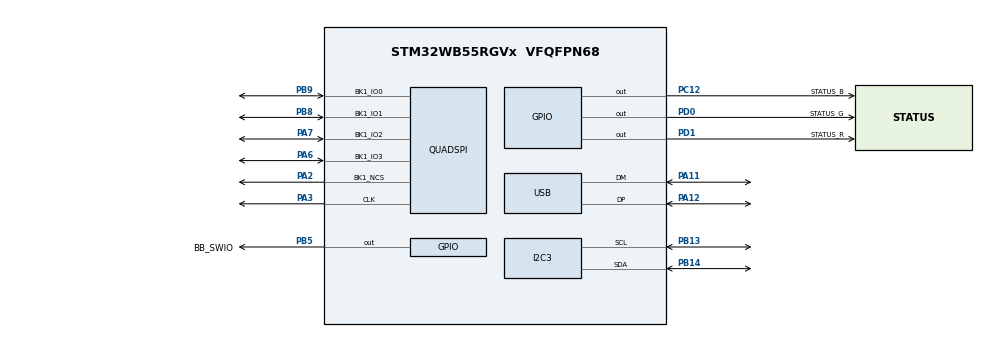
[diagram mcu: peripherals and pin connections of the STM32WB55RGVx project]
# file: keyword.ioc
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I2C3.Timing=0x10B17DB5
Mcu.Family=STM32WB
Mcu.Name=STM32WB55RGVx
Mcu.Package=VFQFPN68
NVIC.PriorityGroup=NVIC_PRIORITYGROUP_4
OSC_IN.Mode=HSE-External-Oscillator
OSC_IN.Signal=RCC_OSC_IN
OSC_OUT.Mode=HSE-External-Oscillator
OSC_OUT.Signal=RCC_OSC_OUT
PA11.Mode=Device
PA11.Signal=USB_DM
PA12.Mode=Device
PA12.Signal=USB_DP
PA13.Mode=Serial_Wire
PA13.Signal=SYS_JTMS-SWDIO
PA14.Mode=Serial_Wire
PA14.Signal=SYS_JTCK-SWCLK
PA2.Mode=Single Bank 1
PA2.Signal=QUADSPI_BK1_NCS
PA3.Mode=Single Bank 1
PA3.Signal=QUADSPI_CLK
PA6.Mode=Single Bank 1
PA6.Signal=QUADSPI_BK1_IO3
PA7.Mode=Single Bank 1
PA7.Signal=QUADSPI_BK1_IO2
PB13.Mode=I2C
PB13.Signal=I2C3_SCL
PB14.Mode=I2C
PB14.Signal=I2C3_SDA
PB5.GPIO_Label=BB_SWIO
PB5.Signal=GPIO_Output
PB8.Mode=Single Bank 1
PB8.Signal=QUADSPI_BK1_IO1
PB9.Mode=Single Bank 1
PB9.Signal=QUADSPI_BK1_IO0
PC12.GPIO_Label=STATUS_B
PC12.Signal=GPIO_Output
PC14-OSC32_IN.Mode=LSE-External-Oscillator
PC14-OSC32_IN.Signal=RCC_OSC32_IN
PC15-OSC32_OUT.Mode=LSE-External-Oscillator
PC15-OSC32_OUT.Signal=RCC_OSC32_OUT
PD0.GPIO_Label=STATUS_G
PD0.Signal=GPIO_Output
PD1.GPIO_Label=STATUS_R
PD1.Signal=GPIO_Output
ProjectManager.HeapSize=0x200
ProjectManager.StackSize=0x400
ProjectManager.TargetToolchain=EWARM V9.60
RCC.ADCFreq_Value=48000000
RCC.AHB2CLKDivider=RCC_SYSCLK_DIV2
RCC.AHBFreq_Value=64000000
RCC.APB1Freq_Value=64000000
RCC.APB1TimFreq_Value=64000000
RCC.APB2Freq_Value=64000000
RCC.APB2TimFreq_Value=64000000
RCC.APB3Freq_Value=4000000
RCC.Cortex2_Div=SYSTICK_CLKSOURCE_HCLK_DIV8
RCC.CortexFreq_Value=64000000
RCC.HCLKFreq_Value=64000000
RCC.HSE_VALUE=8000000
RCC.HSI48_VALUE=48000000
RCC.HSI_VALUE=16000000
RCC.PLLN=32
RCC.PLLSAI1N=24
RCC.SYSCLKFreq_VALUE=64000000
RCC.SYSCLKSource=RCC_SYSCLKSOURCE_PLLCLK
RCC.USBFreq_Value=48000000
RCC.VCOOutputFreq_Value=128000000
RF1.Mode=RF1_Activate
RF1.Signal=RF_RF1
VP_MEMORYMAP_VS_MEMORYMAP.Mode=CurAppReg
board=custom

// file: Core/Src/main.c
/* USER CODE BEGIN Header */
/**
  ******************************************************************************
  * @file           : main.c
  * @brief          : Main program body
  ******************************************************************************
  * @attention
  *
  * Copyright (c) 2026 STMicroelectronics.
  * All rights reserved.
  *
  * This software is licensed under terms that can be found in the LICENSE file
  * in the root directory of this software component.
  * If no LICENSE file comes with this software, it is provided AS-IS.
  *
  ******************************************************************************
  */
/* USER CODE END Header */
#include "main.h"

/* USER CODE BEGIN Includes */
#include <stdio.h>
#include <string.h>
#include "app_entry.h"
#include "usb_device.h"
#include "ch32v003_swio.h"
#include "keybit_image.h"
#include "keybit_bus.h"
#include "keymap.h"
#include "proto.h"

/* USER CODE END Includes */

/* USER CODE BEGIN PD */
/* U14 (XL-1608RGBC) is common anode to +3.3V, so a pin driven LOW lights its colour. */
#define LED_STEP_MS 500
#define GREEN_BLINK_MS 150   /* 3 green blinks, this long on and off, once a Keybit is flashed */
#define KEYBIT_POLL_MS 250
#define HALT_TRIES_MAX 60      /* dock polls (250 ms) with a failed halt before giving up */

/* USER CODE END PD */

I2C_HandleTypeDef hi2c3;

QSPI_HandleTypeDef hqspi;

PCD_HandleTypeDef hpcd_USB_FS;

/* USER CODE BEGIN PV */
static ch32_swio_t keybit_swio;
uint32_t keybit_dock_pause_until;
uint32_t keyword_reset_csr;   /* HAL tick; the dock poll stays off the line until then */
/* Keybits touching the keyword's sides: the list is rebuilt every
 * ~500 ms and key_down refreshed every 15 ms (keybit_bus_service). keybit_changed
 * collects bits of entries whose key_down changed; whoever consumes key
 * events clears the bits it has handled. */
keybit_info_t keybits[KEYBIT_MAX];
int keybit_count;
volatile uint32_t keybit_changed;
/* Keybits further out, from events relayed by their neighbours. */
keybit_remote_t keybit_remotes[KEYBIT_REMOTE_MAX];
int keybit_remote_count;

/* USER CODE END PV */

void SystemClock_Config(void);
void PeriphCommonClock_Config(void);
static void MX_GPIO_Init(void);
static void MX_I2C3_Init(void);
static void MX_USB_PCD_Init(void);
static void MX_QUADSPI_Init(void);
static void MX_RF_Init(void);
/* USER CODE BEGIN PFP */
static void LED_Set(uint8_t r, uint8_t g, uint8_t b);

/* USER CODE END PFP */

/* USER CODE BEGIN 0 */
static void LED_Set(uint8_t r, uint8_t g, uint8_t b)
{
  HAL_GPIO_WritePin(STATUS_R_GPIO_Port, STATUS_R_Pin, r ? GPIO_PIN_RESET : GPIO_PIN_SET);
  HAL_GPIO_WritePin(STATUS_G_GPIO_Port, STATUS_G_Pin, g ? GPIO_PIN_RESET : GPIO_PIN_SET);
  HAL_GPIO_WritePin(STATUS_B_GPIO_Port, STATUS_B_Pin, b ? GPIO_PIN_RESET : GPIO_PIN_SET);
}

/* Status LED, highest priority first:
 *   red    Keybit on the dock failed to flash (until it's taken off)
 *   red    blinking: SDA held low, a Keybit is on backwards (bus paused)
 *   red    double blink: a Keybit reports a neighbour on backwards
 *   white  blinking: a Keybit just connected, on a side or chained
 *   blue   Keybit on the dock (flashing); green once it's done
 *   white  idle */
/* Dock: EMPTY until something answers, WORKING while flashing (blue), then
 * DONE (green) or FAILED (red, gave up) until that board is taken off. */
enum { DOCK_EMPTY, DOCK_WORKING, DOCK_DONE, DOCK_FAILED };
static uint8_t dock_state, bus_held;
static uint32_t white_until;
static uint32_t green_until;   /* green blink after a Keybit is flashed or found up to date */

#define WHITE_BLINK_MS 1200
#define BUS_HELD_MS 100

/* Any Keybit, touching us or further out, with a neighbour on backwards. */
static int Keybit_Any_Backwards(void)
{
  for (int i = 0; i < keybit_count; i++) if (keybits[i].backwards) return 1;
  for (int i = 0; i < keybit_remote_count; i++) if (keybit_remotes[i].present && keybit_remotes[i].backwards) return 1;
  return 0;
}

static void LED_Update(void)
{
  uint32_t now = HAL_GetTick();
  uint32_t t = now % 1000;
  if (dock_state == DOCK_FAILED) LED_Set(1, 0, 0);
  else if ((int32_t)(green_until - now) > 0) LED_Set(0, ((green_until - now) / GREEN_BLINK_MS) & 1, 0);
  else if (bus_held) LED_Set(((now / 250) & 1) == 0, 0, 0);
  else if (Keybit_Any_Backwards()) LED_Set(t < 100 || (t >= 200 && t < 300), 0, 0);  /* two 100 ms blinks a second */
  else if ((int32_t)(white_until - now) > 0) {
    uint8_t on = ((now / 100) & 1) == 0;
    LED_Set(on, on, on);
  }
  else if (dock_state == DOCK_DONE) LED_Set(0, 1, 0);
  else if (dock_state == DOCK_WORKING) LED_Set(0, 0, 1);
  else LED_Set(1, 1, 1);
}

/* Keybit programming dock: CN7/CN8/CN9 on the keyword's back are 3V3, SWIO
 * and GND, lined up with a Keybit's TP1/TP2/TP4. Poll for a Keybit there
 * and flash keybit_image onto it. Until one has been flashed (or found up
 * to date) it keeps retrying every poll, even after a failed attempt, and
 * reports every attempt that got any answer over serial as DOCK lines. */
/* Halt whatever is on the dock and read its 96-bit UID, trusting it only
 * when two reads agree. */
static ch32_status_t Keybit_Dock_Uid(uint32_t uid[3])
{
  ch32_status_t r = ch32_halt(&keybit_swio, 0);
  if (r != CH32_OK && ch32_detect(&keybit_swio) == CH32_OK) r = ch32_halt(&keybit_swio, 0);
  if (r != CH32_OK) return r;
  for (int t = 0; t < 3; t++) {
    int ok = 1;
    for (int i = 0; i < 3 && ok; i++) {
      uint32_t again = 0;
      ok = ch32_read_word(&keybit_swio, 0x1FFFF7E8u + 4u * i, &uid[i]) == CH32_OK &&
           ch32_read_word(&keybit_swio, 0x1FFFF7E8u + 4u * i, &again) == CH32_OK && uid[i] == again;
    }
    /* All 1s or all 0s is a line nobody is driving, not a UID. */
    if (ok && !(uid[0] == uid[1] && uid[1] == uid[2] && (uid[0] == 0 || uid[0] == 0xFFFFFFFFu))) return CH32_OK;
  }
  return CH32_ERR_VERIFY;
}

/* One flash attempt on the docked board: done if it verifies or programs,
 * failed once 5 attempts in a row get nowhere. */
static int32_t best_blk;   /* furthest block the current board's attempts got to */
static uint32_t next_blk;  /* where flashing the current board carries on */
static uint8_t checked;    /* the current board's whole image has been checked once */
static uint8_t stalls;     /* attempts in a row that got no further than where they started */

/* Boards flashed or found up to date since boot; the image is fixed per
 * build, so one of these coming back doesn't need checking again. */
static uint32_t done_uids[8][3];
static uint8_t done_count, done_next;

static void Keybit_Dock_Done(const uint32_t uid[3])
{
  dock_state = DOCK_DONE;
  stalls = 0;
  green_until = HAL_GetTick() + 6 * GREEN_BLINK_MS;
  for (int i = 0; i < done_count; i++)
    if (memcmp(done_uids[i], uid, 12) == 0) return;
  memcpy(done_uids[done_next], uid, 12);
  done_next = (done_next + 1) % 8;
  if (done_count < 8) done_count++;
}

static void Keybit_Dock_Start(const uint32_t uid[3])
{
  for (int i = 0; i < done_count; i++)
    if (memcmp(done_uids[i], uid, 12) == 0) {
      ch32_reboot(&keybit_swio);  /* it was halted for the UID read */
      Keybit_Dock_Done(uid);
      PROTO_Send("DOCK up to date (seen)");
      return;
    }
  dock_state = DOCK_WORKING;
  best_blk = -1;
  next_blk = 0;
  checked = 0;
  stalls = 0;
  LED_Update();    /* blue while flashing */
}

static void Keybit_Dock_Attempt(const uint32_t uid[3])
{
  static uint8_t blank_polls;
  if (dock_state != DOCK_WORKING) return;

  /* No reset: with the Keybit firmware running, a reset-halt loses the line.
   * If the halt fails anyway, detect again and give it one more go. */
  ch32_status_t h = ch32_halt(&keybit_swio, 0);
  if (h != CH32_OK && ch32_detect(&keybit_swio) == CH32_OK) h = ch32_halt(&keybit_swio, 0);
  /* The halt fails in runs and then goes through, so a failed one isn't a
   * stuck attempt: just try again next poll, and only give up after
   * HALT_TRIES_MAX of them in a row (~15 s). */
  static uint8_t halt_fails;
  if (h != CH32_OK) {
    if (++halt_fails >= HALT_TRIES_MAX) {
      halt_fails = 0;
      dock_state = DOCK_FAILED;
      PROTO_Send("DOCK failed: halt=%d", h);
    }
    return;
  }
  halt_fails = 0;
  /* The first words all reading blank is more likely a board that isn't
   * seated yet than an erased one, so give it about a second before
   * believing it (an attempt that died after erasing block 0 does leave it blank). */
  if (h == CH32_OK) {
    uint32_t w = 0;
    int blank = 1;
    for (int i = 0; i < 4 && blank; i++)
      blank = ch32_read_word(&keybit_swio, CH32_FLASH_BASE + 4u * i, &w) == CH32_OK && w == 0xFFFFFFFFu;
    if (blank && ++blank_polls < 4) return;
  }
  blank_polls = 0;
  /* Check the whole image once per docking; after that, carry straight on. */
  int resuming = h == CH32_OK && checked;
  ch32_status_t v = resuming ? CH32_ERR_VERIFY
                  : h == CH32_OK ? ch32_verify(&keybit_swio, CH32_FLASH_BASE, keybit_image, keybit_image_len) : h;
  /* Only a real mismatch means it needs flashing; a garbled read just gets checked again. */
  for (int i = 0; i < 3 && h == CH32_OK && v != CH32_OK && v != CH32_ERR_VERIFY; i++)
    v = ch32_verify(&keybit_swio, CH32_FLASH_BASE, keybit_image, keybit_image_len);
  /* A mismatch has to show up twice before it's worth a reflash. */
  if (v == CH32_ERR_VERIFY && !resuming) {
    PROTO_Send("DOCK mismatch at %08lx want %08lx got %08lx", (unsigned long)ch32_bad_addr,
               (unsigned long)ch32_bad_want, (unsigned long)ch32_bad_got);
    v = ch32_verify(&keybit_swio, CH32_FLASH_BASE, keybit_image, keybit_image_len);
  }
  if (v == CH32_OK) {
    ch32_reboot(&keybit_swio);
    Keybit_Dock_Done(uid);
    PROTO_Send("DOCK up to date");
    return;
  }
  if (h == CH32_OK && !checked && v == CH32_ERR_VERIFY) {
    /* Everything before the first mismatch already matches. */
    checked = 1;
    next_blk = (ch32_bad_addr - CH32_FLASH_BASE) / CH32_FLASH_BLOCK;
  }
  ch32_status_t p = ch32_program(&keybit_swio, keybit_image, keybit_image_len, &next_blk);
  if (p == CH32_MORE) {   /* a couple of blocks done; the rest next poll */
    stalls = 0;
    return;
  }
  PROTO_Send("DOCK flash halt=%d verify=%d program=%d acs=%08lx retries=%lu blk=%ld from=%lu", h, v, p,
             (unsigned long)ch32_last_acs, (unsigned long)ch32_retries, (long)ch32_fail_blk,
             (unsigned long)ch32_resume_from);
  if (p == CH32_OK) {
    Keybit_Dock_Done(uid);
    return;
  }
  /* Progress means this attempt got past the block it resumed from. */
  if (ch32_fail_blk > (int32_t)ch32_resume_from) {
    if (ch32_fail_blk > best_blk) best_blk = ch32_fail_blk;
    stalls = 0;
  } else if (++stalls >= 5) {
    dock_state = DOCK_FAILED;
    stalls = 0;
    PROTO_Send("DOCK failed at block %ld", (long)best_blk);
  }
}

static void Keybit_Dock_Poll(void)
{
  static uint32_t last_poll, uid[3];
  static uint8_t misses, settle;

  if (HAL_GetTick() - last_poll < KEYBIT_POLL_MS) return;
  if ((int32_t)(keybit_dock_pause_until - HAL_GetTick()) > 0) return;
  last_poll = HAL_GetTick();

  if (ch32_detect(&keybit_swio) != CH32_OK) {
    settle = 0;
    /* Only call it gone after about a second of misses: detect still drops one now and then. */
    if (dock_state != DOCK_EMPTY && ++misses >= 4) {
      dock_state = DOCK_EMPTY;
      misses = 0;
      PROTO_Send("DOCK gone");
    }
    return;
  }

  if (dock_state == DOCK_EMPTY) {
    /* Wait for three answers in a row (~500 ms) so a board still being seated isn't read half-on. */
    if (++settle < 3) return;
    if (Keybit_Dock_Uid(uid) != CH32_OK) return;
    misses = 0;
    Keybit_Dock_Start(uid);
  } else if (misses) {
    /* It answered again after a gap: the same board carries on where it was,
     * a different one starts over. */
    uint32_t now_uid[3];
    misses = 0;
    if (Keybit_Dock_Uid(now_uid) != CH32_OK) return;
    if (memcmp(now_uid, uid, sizeof(uid)) != 0) {
      memcpy(uid, now_uid, sizeof(uid));
      Keybit_Dock_Start(uid);
    } else if (dock_state != DOCK_WORKING) {
      ch32_reboot(&keybit_swio);  /* back to running its firmware */
    }
  }
  Keybit_Dock_Attempt(uid);
}

/* DOCK? over serial: the raw answers from whatever is on the dock, to debug detection. */
int Keybit_Dock_Probe(uint32_t *cfg, uint32_t *status)
{
  *cfg = *status = 0;
  int r = ch32_detect(&keybit_swio);
  ch32_read_reg(&keybit_swio, CH32_DMCFGR, cfg);
  ch32_read_reg(&keybit_swio, CH32_DMSTATUS, status);
  return r;
}

/* DOCKSCAN: after a successful probe, read DMCFGR n more times and count
 * how many come back exactly as the first good read, to rank timings by
 * how reliably they read rather than by one lucky answer. */
/* n reads alternating DMCFGR and DMHARTINFO against the values a V003
 * gives; returns how many came back right. */
int Keybit_Dock_Reads(int n)
{
  int good = 0;
  for (int i = 0; i < n; i++) {
    uint32_t v = 0;
    uint8_t reg = (i & 1) ? CH32_DMHARTINFO : CH32_DMCFGR;
    uint32_t want = (i & 1) ? 0x002120F4u : 0x5AA50401u;
    if (ch32_read_reg(&keybit_swio, reg, &v) == CH32_OK && v == want) good++;
  }
  return good;
}

/* Halts the core, then n write/read-back round trips through DMDATA0 (four
 * fixed patterns, then an LCG), then lets it run again. Returns how many DATA0 ones matched, or -1 if the halt
 * failed (its result in *hr). The first DATA0 mismatch goes in *bw / *br,
 * and *bad says whether there was one. */
int Keybit_Dock_Score(int n, uint32_t *bw, uint32_t *br, int *bad, int *hr)
{
  static const uint32_t fixed[4] = { 0x00000000u, 0xFFFFFFFFu, 0xAAAAAAAAu, 0x55555555u };
  uint32_t x = 0x12345678u;
  int good = 0;
  *bad = 0;
  *hr = ch32_halt(&keybit_swio, 0);
  if (*hr != CH32_OK) return -1;
  ch32_write_reg(&keybit_swio, CH32_DMABSTRACTAUTO, 0);
  for (int i = 0; i < n; i++) {
    uint32_t w = i < 4 ? fixed[i] : (x = x * 1664525u + 1013904223u), r = 0;
    ch32_write_reg(&keybit_swio, CH32_DMDATA0, w);
    if (ch32_read_reg(&keybit_swio, CH32_DMDATA0, &r) == CH32_OK && r == w) good++;
    else if (!*bad) { *bad = 1; *bw = w; *br = r; }
  }
  ch32_reboot(&keybit_swio);
  return good;
}

/* Detect whatever is on the dock, optionally request a halt (DMCONTROL
 * written twice) and wait delay_ms, then dump the debug module registers
 * (HARTINFO four times) into v[0..7]; 0xEEEEEEEE for a failed read.
 * x=1 or 2 runs ch32_halt (2 with reset) instead of the halt writes and
 * puts its result in *hr. */
int Keybit_Dock_Regs(uint32_t *v, uint32_t delay_ms, int halt, int x, int *hr)
{
  static const uint8_t regs[8] = { CH32_DMSTATUS, CH32_DMHARTINFO, CH32_DMHARTINFO, CH32_DMHARTINFO,
                                   CH32_DMHARTINFO, CH32_DMABSTRACTCS, CH32_DMCFGR, CH32_DMCONTROL };
  int r = ch32_detect(&keybit_swio);
  *hr = 0;
  if (r == CH32_OK && x) *hr = ch32_halt(&keybit_swio, x == 2);
  else if (r == CH32_OK && halt) {
    ch32_write_reg(&keybit_swio, CH32_DMCONTROL, 0x80000001u);
    ch32_write_reg(&keybit_swio, CH32_DMCONTROL, 0x80000001u);
  }
  if (delay_ms) HAL_Delay(delay_ms);
  for (int i = 0; i < 8; i++)
    if (ch32_read_reg(&keybit_swio, regs[i], &v[i]) != CH32_OK) v[i] = 0xEEEEEEEEu;
  return r;
}

/* DOCKRD: halt whatever is on the dock without resetting it, read n words
 * of its memory from addr, then let it run on (resumereq, no reset), so a
 * running Keybit's RAM can be inspected. Returns the halt or read status. */
int Keybit_Dock_Read(uint32_t addr, uint32_t *out, int n)
{
  int r = ch32_halt(&keybit_swio, 0);
  if (r != CH32_OK && ch32_detect(&keybit_swio) == CH32_OK) r = ch32_halt(&keybit_swio, 0);
  for (int i = 0; r == CH32_OK && i < n; i++) r = ch32_read_word(&keybit_swio, addr + 4u * i, &out[i]);
  ch32_write_reg(&keybit_swio, CH32_DMCONTROL, 0x40000001);  /* resumereq */
  ch32_write_reg(&keybit_swio, CH32_DMCONTROL, 0x40000001);
  return r;
}

/* DOCKID: walk detect, halt, chip ID, a few flash and FLASH register reads
 * and the unlock, printing each step's result into out. Stops at the first
 * failure, adding the last DMABSTRACTCS. */
void Keybit_Dock_Id(char *out, size_t len, int reset)
{
  static const struct { const char *name; uint32_t addr; } words[] = {
    { "w0", 0x08000000u }, { "w4", 0x08000004u }, { "ctlr", 0x40022010u }, { "statr", 0x4002200Cu },
  };
  size_t n = 0;
  uint32_t v = 0;
#define STEP(fmt, ...) n += (size_t)snprintf(out + n, n < len ? len - n : 0, fmt, __VA_ARGS__)
#define FAIL(r) do { if (r != CH32_OK) { STEP(" acs=%08lx", (unsigned long)ch32_last_acs); return; } } while (0)
  out[0] = 0;
  int r = ch32_detect(&keybit_swio);
  STEP("detect=%d", r);
  FAIL(r);
  r = ch32_halt(&keybit_swio, reset);
  STEP(" halt=%d", r);
  FAIL(r);
  r = ch32_read_chip_id(&keybit_swio, &v);
  STEP(" id=%d:%08lx", r, (unsigned long)v);
  FAIL(r);
  for (unsigned i = 0; i < sizeof(words) / sizeof(words[0]); i++) {
    v = 0;
    r = ch32_read_word(&keybit_swio, words[i].addr, &v);
    STEP(" %s=%d:%08lx", words[i].name, r, (unsigned long)v);
    FAIL(r);
  }
  r = ch32_unlock_flash(&keybit_swio);
  STEP(" unlock=%d", r);
  FAIL(r);
  v = 0;
  r = ch32_read_word(&keybit_swio, 0x40022010u, &v);
  STEP(" ctlr2=%d:%08lx", r, (unsigned long)v);
  FAIL(r);
#undef STEP
#undef FAIL
}

/* Hand addresses to new Keybits, then refresh the list of who is there. */
static void Keybit_Bus_Poll(void)
{
  static uint32_t held_since;

  /* A backwards Keybit holds SDA low; tell the host once it has lasted
   * BUS_HELD_MS and once it clears, and leave the bus alone meanwhile. */
  uint32_t now = HAL_GetTick();
  if (!keybit_bus_held()) {
    held_since = now;
    if (bus_held) {
      bus_held = 0;
      PROTO_Send("OK BUS clear");
    }
  } else if (!bus_held && now - held_since >= BUS_HELD_MS) {
    bus_held = 1;
    PROTO_Send("ERR bus SDA held low, a Keybit on the Keyword may be turned the wrong way");
  }
  if (keybit_bus_unstick(&hi2c3)) PROTO_Send("OK BUS recovered");
  if (keybit_bus_jammed()) return;
  int f = keybit_bus_service(&hi2c3, keybits, &keybit_count, keybit_remotes, &keybit_remote_count);
  if (f & KEYBIT_CHANGED) {
    keybit_changed = 1;
    KEYMAP_Kick();   /* report it now, not at the next 5 ms tick */
  }
  if (f & KEYBIT_JOINED) white_until = HAL_GetTick() + WHITE_BLINK_MS;
}

/* USER CODE END 0 */

int main(void)
{

  /* USER CODE BEGIN 1 */
  keyword_reset_csr = RCC->CSR;   /* why we last reset, for HELLO */
  /* USER CODE END 1 */

  /* MCU Configuration--------------------------------------------------------*/

  /* Reset of all peripherals, Initializes the Flash interface and the Systick. */
  HAL_Init();

  /* USER CODE BEGIN Init */
  MX_APPE_Config();   /* STM32_WPAN: IPCC/backup reset and HSE trim, before the clocks start */
  /* USER CODE END Init */

  /* Configure the system clock */
  SystemClock_Config();

  /* Configure the peripherals common clocks */
  PeriphCommonClock_Config();

  /* USER CODE BEGIN SysInit */
  RCC->CSR |= RCC_CSR_RMVF;   /* after MX_APPE_Config has read them, so the next reset reports only its own cause */

  /* USER CODE END SysInit */

  /* Initialize all configured peripherals */
  MX_GPIO_Init();
  MX_I2C3_Init();
  MX_USB_PCD_Init();
  MX_QUADSPI_Init();
  MX_RF_Init();
  /* USER CODE BEGIN 2 */

  ch32_init(&keybit_swio, BB_SWIO_GPIO_Port, BB_SWIO_Pin);
  LED_Set(1, 1, 1); // white

  /* USER CODE END 2 */

  /* Infinite loop */
  /* USER CODE BEGIN WHILE */
  while (1)
  {
    MX_APPE_Process();  /* STM32_WPAN sequencer: BLE events, keymap, NUS */
    /* USER CODE END WHILE */

    /* USER CODE BEGIN 3 */
    Keybit_Dock_Poll();
    Keybit_Bus_Poll();
    LED_Update();

  }
  /* USER CODE END 3 */
}

void SystemClock_Config(void)
{
  RCC_OscInitTypeDef RCC_OscInitStruct = {0};
  RCC_ClkInitTypeDef RCC_ClkInitStruct = {0};

  /** Configure LSE Drive Capability
  */
  HAL_PWR_EnableBkUpAccess();
  __HAL_RCC_LSEDRIVE_CONFIG(RCC_LSEDRIVE_MEDIUMHIGH);

  /** Configure the main internal regulator output voltage
  */
  __HAL_PWR_VOLTAGESCALING_CONFIG(PWR_REGULATOR_VOLTAGE_SCALE1);

  /** Initializes the RCC Oscillators according to the specified parameters
  * in the RCC_OscInitTypeDef structure.
  */
  RCC_OscInitStruct.OscillatorType = RCC_OSCILLATORTYPE_HSI|RCC_OSCILLATORTYPE_HSE
                              |RCC_OSCILLATORTYPE_LSE|RCC_OSCILLATORTYPE_MSI;
  RCC_OscInitStruct.HSEState = RCC_HSE_ON;
  RCC_OscInitStruct.LSEState = RCC_LSE_ON;
  RCC_OscInitStruct.HSIState = RCC_HSI_ON;
  RCC_OscInitStruct.MSIState = RCC_MSI_ON;
  RCC_OscInitStruct.HSICalibrationValue = RCC_HSICALIBRATION_DEFAULT;
  RCC_OscInitStruct.MSICalibrationValue = RCC_MSICALIBRATION_DEFAULT;
  RCC_OscInitStruct.MSIClockRange = RCC_MSIRANGE_6;
  RCC_OscInitStruct.PLL.PLLState = RCC_PLL_ON;
  RCC_OscInitStruct.PLL.PLLSource = RCC_PLLSOURCE_MSI;
  RCC_OscInitStruct.PLL.PLLM = RCC_PLLM_DIV1;
  RCC_OscInitStruct.PLL.PLLN = 32;
  RCC_OscInitStruct.PLL.PLLP = RCC_PLLP_DIV2;
  RCC_OscInitStruct.PLL.PLLR = RCC_PLLR_DIV2;
  RCC_OscInitStruct.PLL.PLLQ = RCC_PLLQ_DIV2;
  if (HAL_RCC_OscConfig(&RCC_OscInitStruct) != HAL_OK)
  {
    Error_Handler();
  }

  /** Configure the SYSCLKSource, HCLK, PCLK1 and PCLK2 clocks dividers
  */
  RCC_ClkInitStruct.ClockType = RCC_CLOCKTYPE_HCLK4|RCC_CLOCKTYPE_HCLK2
                              |RCC_CLOCKTYPE_HCLK|RCC_CLOCKTYPE_SYSCLK
                              |RCC_CLOCKTYPE_PCLK1|RCC_CLOCKTYPE_PCLK2;
  RCC_ClkInitStruct.SYSCLKSource = RCC_SYSCLKSOURCE_PLLCLK;
  RCC_ClkInitStruct.AHBCLKDivider = RCC_SYSCLK_DIV1;
  RCC_ClkInitStruct.APB1CLKDivider = RCC_HCLK_DIV1;
  RCC_ClkInitStruct.APB2CLKDivider = RCC_HCLK_DIV1;
  RCC_ClkInitStruct.AHBCLK2Divider = RCC_SYSCLK_DIV2;
  RCC_ClkInitStruct.AHBCLK4Divider = RCC_SYSCLK_DIV1;

  if (HAL_RCC_ClockConfig(&RCC_ClkInitStruct, FLASH_LATENCY_3) != HAL_OK)
  {
    Error_Handler();
  }

  /** Enable MSI Auto calibration
  */
  HAL_RCCEx_EnableMSIPLLMode();
}

void PeriphCommonClock_Config(void)
{
  RCC_PeriphCLKInitTypeDef PeriphClkInitStruct = {0};

  /** Initializes the peripherals clock
  */
  PeriphClkInitStruct.PeriphClockSelection = RCC_PERIPHCLK_SMPS|RCC_PERIPHCLK_RFWAKEUP;
  PeriphClkInitStruct.RFWakeUpClockSelection = RCC_RFWKPCLKSOURCE_HSE_DIV1024;
  PeriphClkInitStruct.SmpsClockSelection = RCC_SMPSCLKSOURCE_HSI;
  PeriphClkInitStruct.SmpsDivSelection = RCC_SMPSCLKDIV_RANGE1;

  if (HAL_RCCEx_PeriphCLKConfig(&PeriphClkInitStruct) != HAL_OK)
  {
    Error_Handler();
  }
}

static void MX_I2C3_Init(void)
{

  hi2c3.Instance = I2C3;
  hi2c3.Init.Timing = 0xF0426363;  /* ~20 kHz: Keybits run their I2C target in software and miss bits at 100 kHz */
  hi2c3.Init.OwnAddress1 = 0;
  hi2c3.Init.AddressingMode = I2C_ADDRESSINGMODE_7BIT;
  hi2c3.Init.DualAddressMode = I2C_DUALADDRESS_DISABLE;
  hi2c3.Init.OwnAddress2 = 0;
  hi2c3.Init.OwnAddress2Masks = I2C_OA2_NOMASK;
  hi2c3.Init.GeneralCallMode = I2C_GENERALCALL_DISABLE;
  hi2c3.Init.NoStretchMode = I2C_NOSTRETCH_DISABLE;
  if (HAL_I2C_Init(&hi2c3) != HAL_OK)
  {
    Error_Handler();
  }

  /** Configure Analogue filter
  */
  if (HAL_I2CEx_ConfigAnalogFilter(&hi2c3, I2C_ANALOGFILTER_ENABLE) != HAL_OK)
  {
    Error_Handler();
  }

  /** Configure Digital filter
  */
  if (HAL_I2CEx_ConfigDigitalFilter(&hi2c3, 0) != HAL_OK)
  {
    Error_Handler();
  }

}

static void MX_QUADSPI_Init(void)
{

  /* QUADSPI parameter configuration*/
  hqspi.Instance = QUADSPI;
  hqspi.Init.ClockPrescaler = 255;
  hqspi.Init.FifoThreshold = 1;
  hqspi.Init.SampleShifting = QSPI_SAMPLE_SHIFTING_NONE;
  hqspi.Init.FlashSize = 1;
  hqspi.Init.ChipSelectHighTime = QSPI_CS_HIGH_TIME_1_CYCLE;
  hqspi.Init.ClockMode = QSPI_CLOCK_MODE_0;
  if (HAL_QSPI_Init(&hqspi) != HAL_OK)
  {
    Error_Handler();
  }

}

static void MX_RF_Init(void)
{

  /* USER CODE BEGIN RF_Init 2 */
  MX_APPE_Init();     /* STM32_WPAN: RTC timer server, transport layer, boots CPU2 */
  MX_USB_Device_Init(); /* USB CDC serial for the config protocol */
  /* USER CODE END RF_Init 2 */

}

static void MX_USB_PCD_Init(void)
{

  hpcd_USB_FS.Instance = USB;
  hpcd_USB_FS.Init.dev_endpoints = 8;
  hpcd_USB_FS.Init.speed = PCD_SPEED_FULL;
  hpcd_USB_FS.Init.phy_itface = PCD_PHY_EMBEDDED;
  hpcd_USB_FS.Init.Sof_enable = DISABLE;
  hpcd_USB_FS.Init.low_power_enable = DISABLE;
  hpcd_USB_FS.Init.lpm_enable = DISABLE;
  hpcd_USB_FS.Init.battery_charging_enable = DISABLE;
  if (HAL_PCD_Init(&hpcd_USB_FS) != HAL_OK)
  {
    Error_Handler();
  }

}

static void MX_GPIO_Init(void)
{
  GPIO_InitTypeDef GPIO_InitStruct = {0};

  /* GPIO Ports Clock Enable */
  __HAL_RCC_GPIOC_CLK_ENABLE();
  __HAL_RCC_GPIOB_CLK_ENABLE();
  __HAL_RCC_GPIOA_CLK_ENABLE();
  __HAL_RCC_GPIOD_CLK_ENABLE();

  /*Configure GPIO pin Output Level */
  HAL_GPIO_WritePin(STATUS_B_GPIO_Port, STATUS_B_Pin, GPIO_PIN_RESET);

  /*Configure GPIO pin Output Level */
  HAL_GPIO_WritePin(GPIOD, STATUS_G_Pin|STATUS_R_Pin, GPIO_PIN_RESET);

  /*Configure GPIO pin Output Level */
  HAL_GPIO_WritePin(BB_SWIO_GPIO_Port, BB_SWIO_Pin, GPIO_PIN_RESET);

  /*Configure GPIO pin : STATUS_B_Pin */
  GPIO_InitStruct.Pin = STATUS_B_Pin;
  GPIO_InitStruct.Mode = GPIO_MODE_OUTPUT_PP;
  GPIO_InitStruct.Pull = GPIO_NOPULL;
  GPIO_InitStruct.Speed = GPIO_SPEED_FREQ_LOW;
  HAL_GPIO_Init(STATUS_B_GPIO_Port, &GPIO_InitStruct);

  /*Configure GPIO pins : STATUS_G_Pin STATUS_R_Pin */
  GPIO_InitStruct.Pin = STATUS_G_Pin|STATUS_R_Pin;
  GPIO_InitStruct.Mode = GPIO_MODE_OUTPUT_PP;
  GPIO_InitStruct.Pull = GPIO_NOPULL;
  GPIO_InitStruct.Speed = GPIO_SPEED_FREQ_LOW;
  HAL_GPIO_Init(GPIOD, &GPIO_InitStruct);

  /*Configure GPIO pin : BB_SWIO_Pin */
  GPIO_InitStruct.Pin = BB_SWIO_Pin;
  GPIO_InitStruct.Mode = GPIO_MODE_OUTPUT_PP;
  GPIO_InitStruct.Pull = GPIO_NOPULL;
  GPIO_InitStruct.Speed = GPIO_SPEED_FREQ_LOW;
  HAL_GPIO_Init(BB_SWIO_GPIO_Port, &GPIO_InitStruct);

}

void Error_Handler(void)
{
  /* USER CODE BEGIN Error_Handler_Debug */
  /* User can add his own implementation to report the HAL error return state */
  /* Fast red blink so a failed init (e.g. a crystal not starting) is visible. */
  __disable_irq();
  __HAL_RCC_GPIOC_CLK_ENABLE();
  __HAL_RCC_GPIOD_CLK_ENABLE();
  GPIO_InitTypeDef GPIO_InitStruct = {0};
  GPIO_InitStruct.Mode = GPIO_MODE_OUTPUT_PP;
  GPIO_InitStruct.Pull = GPIO_NOPULL;
  GPIO_InitStruct.Speed = GPIO_SPEED_FREQ_LOW;
  GPIO_InitStruct.Pin = STATUS_B_Pin;
  HAL_GPIO_Init(STATUS_B_GPIO_Port, &GPIO_InitStruct);
  GPIO_InitStruct.Pin = STATUS_G_Pin | STATUS_R_Pin;
  HAL_GPIO_Init(GPIOD, &GPIO_InitStruct);
  LED_Set(0, 0, 0);
  while (1)
  {
    HAL_GPIO_TogglePin(STATUS_R_GPIO_Port, STATUS_R_Pin);
    for (volatile uint32_t i = 0; i < 200000; i++)
    {
    }
  }
  /* USER CODE END Error_Handler_Debug */
}
